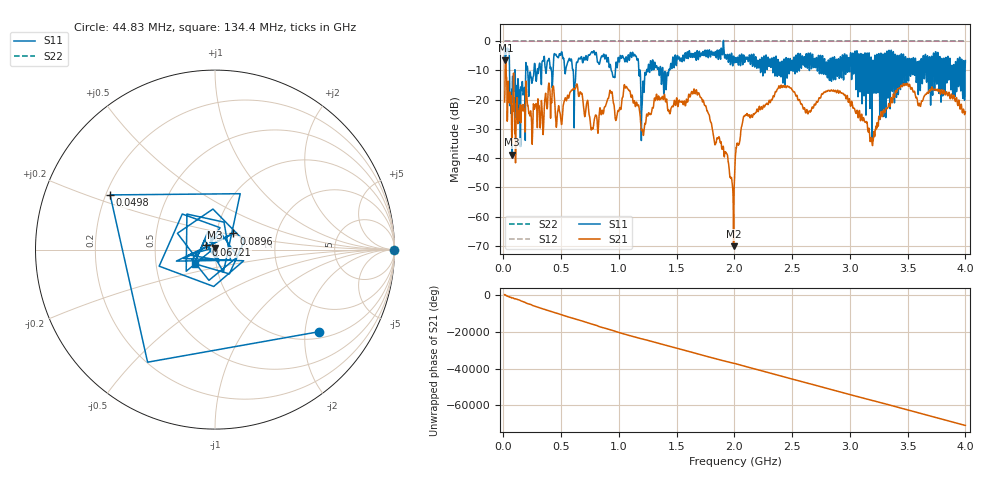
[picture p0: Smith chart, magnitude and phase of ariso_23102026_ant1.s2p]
! Anritsu VNA Master:  Model: MS2024B
! SN:  2417009
! /card0/usr/ariso_23102026_ant1.s2p
! Existing Calibration Information:
! TYPE:  Current Settings,  Active Cal Settings
! TIME:  10/23/2026 05:03:13 AM,  10/23/2026 04:57:56 AM
! INTERNAL TEMP:  49.3 C,  47.3 C
! # POINTS:  1605,  1605
! START FREQ:  10.000 MHz,  10.000 MHz
! STOP FREQ:  4.000 GHz,  4.000 GHz
! SOURCE POWER:  Default,  Default
! IFBW:  1 kHz,  1 kHz
! AVG FACTOR:  1 ,  1
! REF PLANE 1:  0 mm,  0 mm
! REF PLANE 2:  0 mm,  0 mm
! CAL TYPE:  1P2P S11,S21,  1P2P S11,S21
! CAL METHOD:  SOLT,  SOLT
! CAL LINE TYPE:  Coax,  Coax
! DUT PORT 1:  N-Conn(M),  N-Conn(M)
! DUT PORT 2:  N-Conn(M),  N-Conn(M)
! CAL STATUS:  OK: Accuracy High,  --
# GHZ S DB R 50.0
! FREQ.GHZ  S11DB  S11A  S21DB  S21A  S12DB  S12A  S22DB  S22A
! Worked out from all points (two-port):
!   1605 points, 10 MHz to 4 GHz, reference 50 ohm
!   highest |S21| = -6.61 dB at 17.46 MHz (marker M1); lowest = -70.1 dB at 1.993 GHz (marker M2)
!   |S21| within 3 dB of the highest: 14.79 MHz to 23.55 MHz (8.761 MHz wide, 45.7 % of centre)
!   lowest |S11| = -38.8 dB at 74.68 MHz (marker M3), VSWR 1.02, Z = 50 + j1.15 ohm
!   |S11| at or under -10 dB: 99.9 MHz to 192.9 MHz (92.98 MHz wide, 63.5 % of centre); 210.1 MHz to 264 MHz (53.9 MHz wide, 22.7 % of centre); 1.183 GHz to 1.239 GHz (56.52 MHz wide, 4.67 % of centre)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
!   |S22| runs from 0.0 to 0.0 dB; largest |S21 - S12| = 1.4
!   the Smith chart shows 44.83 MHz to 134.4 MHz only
!   S11 on the Smith chart (normalised r, x): 44.83 MHz: 1.18, -2.37; 49.8 MHz: 0.22, +0.23; 67.21 MHz: 0.90, +0.05; 89.6 MHz: 1.21, +0.22; 134.4 MHz: 0.79, -0.13
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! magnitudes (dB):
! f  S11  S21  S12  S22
! 10 MHz  -1.5  -20.8  0.0  0.0
! 17.46 MHz  -5.8  -6.6  0.0  0.0
! 44.83 MHz  -2.6  -19.9  0.0  0.0
! 49.8 MHz  -3.6  -21.1  0.0  0.0
! 67.21 MHz  -24.8  -18.7  0.0  0.0
! 74.68 MHz  -38.8  -27.2  0.0  0.0
! 89.6 MHz  -17.3  -14.0  0.0  0.0
! 134.4 MHz  -17.3  -27.3  0.0  0.0
! 676.7 MHz  -5.4  -17.9  0.0  0.0
! 768.7 MHz  -3.8  -29.7  0.0  0.0
! 1.065 GHz  -5.6  -15.5  0.0  0.0
! 1.211 GHz  -13.9  -32.2  0.0  0.0
! 1.341 GHz  -9.0  -19.2  0.0  0.0
! 1.687 GHz  -6.3  -17.7  0.0  0.0
! 1.993 GHz  -5.1  -70.1  0.0  0.0
! 2.005 GHz  -6.9  -42.1  0.0  0.0
! 2.09 GHz  -7.3  -25.4  0.0  0.0
! 2.388 GHz  -11.8  -15.3  0.0  0.0
! 2.672 GHz  -6.6  -22.7  0.0  0.0
! 3.194 GHz  -13.7  -35.5  0.0  0.0
! 3.336 GHz  -4.3  -21.3  0.0  0.0
! 4 GHz  -6.7  -24.2  0.0  0.0
